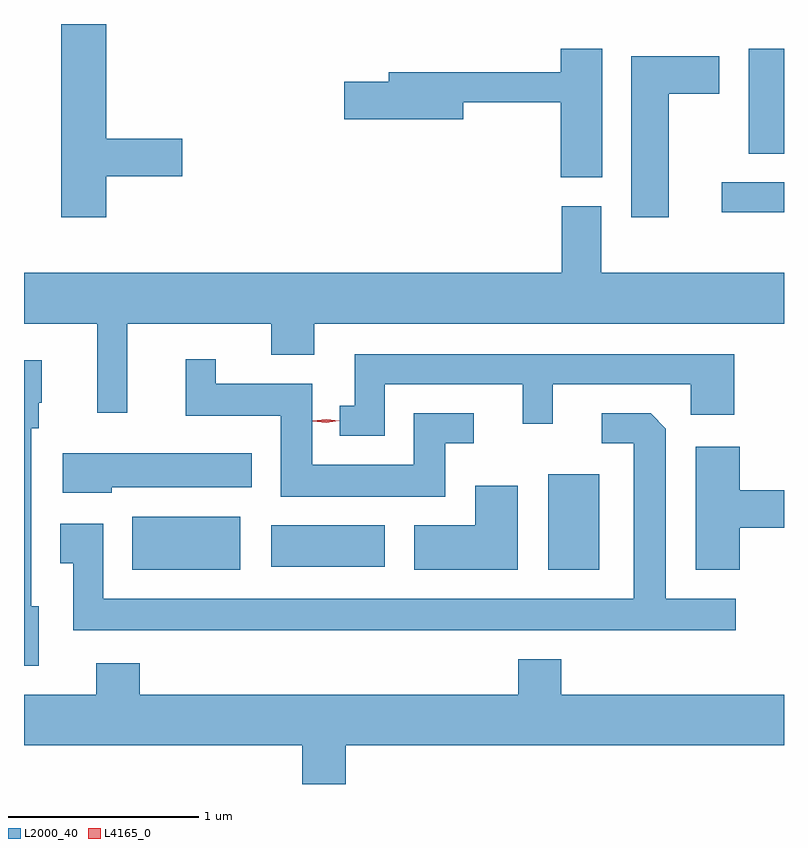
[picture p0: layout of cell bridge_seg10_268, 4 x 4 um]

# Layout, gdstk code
import gdstk
lib = gdstk.Library(unit=1e-6, precision=1e-09)
def R(c, l, rs):  # rectangles x0, y0, x1, y1
    for r in rs: c.add(gdstk.rectangle(r[:2], r[2:], *l))
def P(c, l, *ps):  # polygons
    for p in ps: c.add(gdstk.Polygon(p, *l))
L2000_40 = (2000, 40)
L4165_0 = (4165, 0)

bridge_seg10_268 = lib.new_cell('bridge_seg10_268')
R(bridge_seg10_268, L2000_40, [(1466.971,2165.901,1467.539,2166.179), (1469.161,2165.901,1469.429,2166.404), (1467.701,2165.916,1468.299,2166.134), (1470.073,2167.781,1470.401,2167.939), (1470.216,2168.091,1470.401,2168.644)])
P(bridge_seg10_268, L2000_40, [(1466.834,2167.971),(1467.234,2167.971),(1467.234,2168.169),(1466.834,2168.169),(1466.834,2168.773),(1466.596,2168.773),(1466.596,2167.756),(1466.834,2167.756)],
  [(1469.444,2168.644),(1469.226,2168.644),(1469.226,2168.519),(1468.321,2168.519),(1468.321,2168.469),(1468.086,2168.469),(1468.086,2168.271),(1468.714,2168.271),(1468.714,2168.361),(1469.226,2168.361),(1469.226,2167.966),(1469.444,2167.966)],
  [(1469.794,2168.406),(1470.059,2168.406),(1470.059,2168.604),(1469.596,2168.604),(1469.596,2167.756),(1469.794,2167.756)],
  [(1466.944,2167.196),(1467.701,2167.196),(1467.701,2167.031),(1467.929,2167.031),(1467.929,2167.196),(1470.401,2167.196),(1470.401,2167.464),(1469.439,2167.464),(1469.439,2167.814),(1469.231,2167.814),(1469.231,2167.464),(1466.401,2167.464),(1466.401,2167.196),(1466.786,2167.196),(1466.786,2166.728),(1466.944,2166.728)],
  [(1468.299,2166.876),(1469.026,2166.876),(1469.026,2166.668),(1469.184,2166.668),(1469.184,2166.876),(1469.911,2166.876),(1469.911,2166.716),(1470.139,2166.716),(1470.139,2167.034),(1468.141,2167.034),(1468.141,2166.764),(1468.063,2166.764),(1468.063,2166.606),(1468.299,2166.606)],
  [(1468.619,2166.566),(1468.768,2166.566),(1468.768,2166.724),(1468.451,2166.724),(1468.451,2166.454),(1467.919,2166.454),(1467.919,2166.879),(1467.409,2166.879),(1467.409,2167.008),(1467.251,2167.008),(1467.251,2166.711),(1467.751,2166.711),(1467.751,2166.286),(1468.619,2166.286)],
  [(1466.479,2165.709),(1466.439,2165.709),(1466.439,2166.646),(1466.479,2166.646),(1466.479,2166.78),(1466.494,2166.78),(1466.494,2167.004),(1466.401,2167.004),(1466.401,2165.396),(1466.479,2165.396)],
  [(1470.148,2165.749),(1469.779,2165.749),(1469.779,2166.644),(1469.699,2166.724),(1469.443,2166.724),(1469.443,2166.566),(1469.611,2166.566),(1469.611,2165.749),(1466.819,2165.749),(1466.819,2166.144),(1466.591,2166.144),(1466.591,2165.936),(1466.661,2165.936),(1466.661,2165.581),(1470.148,2165.581)],
  [(1470.169,2166.121),(1470.401,2166.121),(1470.401,2166.319),(1470.169,2166.319),(1470.169,2166.549),(1469.936,2166.549),(1469.936,2165.901),(1470.169,2165.901)],
  [(1466.864,2166.336),(1467.599,2166.336),(1467.599,2166.514),(1466.606,2166.514),(1466.606,2166.306),(1466.864,2166.306)],
  [(1468.999,2166.344),(1468.776,2166.344),(1468.776,2166.134),(1468.456,2166.134),(1468.456,2165.901),(1468.999,2165.901)],
  [(1468.094,2164.976),(1470.401,2164.976),(1470.401,2165.244),(1469.229,2165.244),(1469.229,2165.429),(1469.001,2165.429),(1469.001,2165.244),(1467.009,2165.244),(1467.009,2165.409),(1466.781,2165.409),(1466.781,2165.244),(1466.401,2165.244),(1466.401,2164.976),(1467.866,2164.976),(1467.866,2164.773),(1468.094,2164.773)])
P(bridge_seg10_268, L4165_0, [(1467.992,2166.674),(1467.922,2166.683),(1467.922,2166.684),(1467.922,2166.684),(1467.992,2166.694),(1468.061,2166.685),(1468.061,2166.684),(1468.061,2166.684)])

lib.write_gds('bridge_seg10_268.gds')
